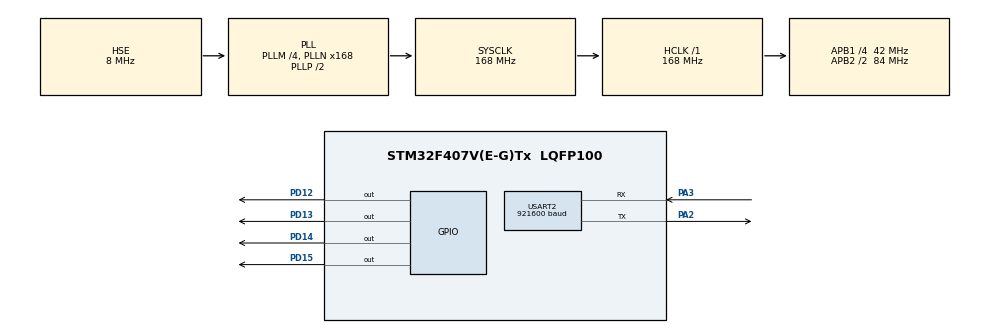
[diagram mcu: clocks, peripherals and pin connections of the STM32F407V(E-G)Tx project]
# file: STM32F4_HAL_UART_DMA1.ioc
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Dma.Request0=USART2_TX
Dma.Request1=USART2_RX
Dma.USART2_RX.1.Direction=DMA_PERIPH_TO_MEMORY
Dma.USART2_RX.1.FIFOMode=DMA_FIFOMODE_ENABLE
Dma.USART2_RX.1.FIFOThreshold=DMA_FIFO_THRESHOLD_FULL
Dma.USART2_RX.1.Instance=DMA1_Stream5
Dma.USART2_RX.1.MemBurst=DMA_MBURST_INC16
Dma.USART2_RX.1.MemDataAlignment=DMA_MDATAALIGN_BYTE
Dma.USART2_RX.1.MemInc=DMA_MINC_ENABLE
Dma.USART2_RX.1.Mode=DMA_NORMAL
Dma.USART2_RX.1.PeriphBurst=DMA_PBURST_SINGLE
Dma.USART2_RX.1.PeriphDataAlignment=DMA_PDATAALIGN_BYTE
Dma.USART2_RX.1.PeriphInc=DMA_PINC_DISABLE
Dma.USART2_RX.1.Priority=DMA_PRIORITY_LOW
Dma.USART2_TX.0.Direction=DMA_MEMORY_TO_PERIPH
Dma.USART2_TX.0.FIFOMode=DMA_FIFOMODE_DISABLE
Dma.USART2_TX.0.Instance=DMA1_Stream6
Dma.USART2_TX.0.MemDataAlignment=DMA_MDATAALIGN_BYTE
Dma.USART2_TX.0.MemInc=DMA_MINC_ENABLE
Dma.USART2_TX.0.Mode=DMA_NORMAL
Dma.USART2_TX.0.PeriphDataAlignment=DMA_PDATAALIGN_BYTE
Dma.USART2_TX.0.PeriphInc=DMA_PINC_DISABLE
Dma.USART2_TX.0.Priority=DMA_PRIORITY_LOW
Mcu.Family=STM32F4
Mcu.Name=STM32F407V(E-G)Tx
Mcu.Package=LQFP100
NVIC.DMA1_Stream5_IRQn=true\:0\:0\:false\:false\:true\:false
NVIC.DMA1_Stream6_IRQn=true\:0\:0\:false\:false\:true\:false
NVIC.PriorityGroup=NVIC_PRIORITYGROUP_0
NVIC.USART2_IRQn=true\:0\:0\:false\:false\:true\:true
PA2.Mode=Asynchronous
PA2.Signal=USART2_TX
PA3.Mode=Asynchronous
PA3.Signal=USART2_RX
PC14-OSC32_IN.Mode=LSE-External-Oscillator
PC14-OSC32_IN.Signal=RCC_OSC32_IN
PC15-OSC32_OUT.Mode=LSE-External-Oscillator
PC15-OSC32_OUT.Signal=RCC_OSC32_OUT
PD12.Signal=GPIO_Output
PD13.Signal=GPIO_Output
PD14.Signal=GPIO_Output
PD15.Signal=GPIO_Output
PH0-OSC_IN.Mode=HSE-External-Oscillator
PH0-OSC_IN.Signal=RCC_OSC_IN
PH1-OSC_OUT.Mode=HSE-External-Oscillator
PH1-OSC_OUT.Signal=RCC_OSC_OUT
ProjectManager.HeapSize=0x200
ProjectManager.StackSize=0x400
ProjectManager.TargetToolchain=TrueSTUDIO
RCC.48MHZClocksFreq_Value=48000000
RCC.AHBFreq_Value=168000000
RCC.APB1CLKDivider=RCC_HCLK_DIV4
RCC.APB1Freq_Value=42000000
RCC.APB1TimFreq_Value=84000000
RCC.APB2CLKDivider=RCC_HCLK_DIV2
RCC.APB2Freq_Value=84000000
RCC.APB2TimFreq_Value=168000000
RCC.CortexFreq_Value=168000000
RCC.HCLKFreq_Value=168000000
RCC.HSE_VALUE=8000000
RCC.HSI_VALUE=16000000
RCC.PLLM=4
RCC.PLLN=168
RCC.PLLQ=7
RCC.PLLSourceVirtual=RCC_PLLSOURCE_HSE
RCC.SYSCLKFreq_VALUE=168000000
RCC.SYSCLKSource=RCC_SYSCLKSOURCE_PLLCLK
RCC.VCOOutputFreq_Value=336000000
USART2.BaudRate=921600
USART2.VirtualMode=VM_ASYNC
board=STM32F4DISCOVERY

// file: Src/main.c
/**
  ******************************************************************************
  * @file           : main.c
  * @brief          : Main program body
  ******************************************************************************
  ** This notice applies to any and all portions of this file
  * that are not between comment pairs USER CODE BEGIN and
  * USER CODE END. Other portions of this file, whether
  * inserted by the user or by software development tools
  * are owned by their respective copyright owners.
  *
  * COPYRIGHT(c) 2019 STMicroelectronics
  *
  * Redistribution and use in source and binary forms, with or without modification,
  * are permitted provided that the following conditions are met:
  *   1. Redistributions of source code must retain the above copyright notice,
  *      this list of conditions and the following disclaimer.
  *   2. Redistributions in binary form must reproduce the above copyright notice,
  *      this list of conditions and the following disclaimer in the documentation
  *      and/or other materials provided with the distribution.
  *   3. Neither the name of STMicroelectronics nor the names of its contributors
  *      may be used to endorse or promote products derived from this software
  *      without specific prior written permission.
  *
  * THIS SOFTWARE IS PROVIDED BY THE COPYRIGHT HOLDERS AND CONTRIBUTORS "AS IS"
  * AND ANY EXPRESS OR IMPLIED WARRANTIES, INCLUDING, BUT NOT LIMITED TO, THE
  * IMPLIED WARRANTIES OF MERCHANTABILITY AND FITNESS FOR A PARTICULAR PURPOSE ARE
  * DISCLAIMED. IN NO EVENT SHALL THE COPYRIGHT HOLDER OR CONTRIBUTORS BE LIABLE
  * FOR ANY DIRECT, INDIRECT, INCIDENTAL, SPECIAL, EXEMPLARY, OR CONSEQUENTIAL
  * DAMAGES (INCLUDING, BUT NOT LIMITED TO, PROCUREMENT OF SUBSTITUTE GOODS OR
  * SERVICES; LOSS OF USE, DATA, OR PROFITS; OR BUSINESS INTERRUPTION) HOWEVER
  * CAUSED AND ON ANY THEORY OF LIABILITY, WHETHER IN CONTRACT, STRICT LIABILITY,
  * OR TORT (INCLUDING NEGLIGENCE OR OTHERWISE) ARISING IN ANY WAY OUT OF THE USE
  * OF THIS SOFTWARE, EVEN IF ADVISED OF THE POSSIBILITY OF SUCH DAMAGE.
  *
  ******************************************************************************
  */
#include "main.h"
#include "stm32f4xx_hal.h"

/* USER CODE BEGIN Includes */
#include "stdbool.h"
/* USER CODE END Includes */

UART_HandleTypeDef huart2;
DMA_HandleTypeDef hdma_usart2_tx;
DMA_HandleTypeDef hdma_usart2_rx;

/* USER CODE BEGIN PV */
/* Private variables ---------------------------------------------------------*/
#define MSG_SIZE     1024
#define BUF_SIZE        4

uint8_t msg[MSG_SIZE];
uint32_t msgCount = 0;
bool msgFlag = false;
uint32_t noRESCount = 0;
/* USER CODE END PV */

void SystemClock_Config(void);
static void MX_GPIO_Init(void);
static void MX_DMA_Init(void);
static void MX_USART2_UART_Init(void);

/* USER CODE BEGIN PFP */
/* Private function prototypes -----------------------------------------------*/

/* USER CODE END PFP */

/* USER CODE BEGIN 0 */
void SendREQ()
{
  uint8_t req[3] = {0xAA, 0xBB, 0xCC};
  HAL_UART_Receive_DMA(&huart2, msg, MSG_SIZE);
  HAL_UART_Transmit_DMA(&huart2, req, sizeof(req));
}

void RcvRES()
{
  if(msgFlag)
  {
    msgFlag = false;
    noRESCount = 0;

    if(msg[0] == 0x00 && msg[MSG_SIZE-1] == 0xFF)
    {
      msgCount++;

      /* Turn Off Error LED */
      HAL_GPIO_WritePin(GPIOD, GPIO_PIN_14, GPIO_PIN_RESET);
      /* Toggle RCV LED */
      HAL_GPIO_TogglePin(GPIOD, GPIO_PIN_15);
    }
    else
    {
      /* Turn On Error LED */
      HAL_GPIO_WritePin(GPIOD, GPIO_PIN_14, GPIO_PIN_SET);
    }

    SendREQ();
  }
  else
  {
    /* Slave 쪽이 Reset 된 경우 장기간 데이터가 수신되지 않으면 기존 동작을 취소하고 다시 SendREQ 를 수행한다. */
    noRESCount++;
    if(noRESCount > 500000)
    {
      noRESCount = 0;

      HAL_DMA_Abort(&hdma_usart2_tx);
      HAL_DMA_Abort(&hdma_usart2_rx);

      SendREQ();
    }
  }
}

void HAL_UART_RxCpltCallback(UART_HandleTypeDef *huart)
{
  if(huart->Instance == USART2)
  {
    msgFlag = true;
  }
}

/* USER CODE END 0 */

int main(void)
{

  /* MCU Configuration----------------------------------------------------------*/

  /* Reset of all peripherals, Initializes the Flash interface and the Systick. */
  HAL_Init();

  /* Configure the system clock */
  SystemClock_Config();

  /* Initialize all configured peripherals */
  MX_GPIO_Init();
  MX_DMA_Init();
  MX_USART2_UART_Init();

  /* Infinite loop */
  while (1)
  {

  /* USER CODE BEGIN 3 */
    RcvRES();
  }
  /* USER CODE END 3 */

}

void SystemClock_Config(void)
{

  RCC_OscInitTypeDef RCC_OscInitStruct;
  RCC_ClkInitTypeDef RCC_ClkInitStruct;

    /**Configure the main internal regulator output voltage
    */
  __HAL_RCC_PWR_CLK_ENABLE();

  __HAL_PWR_VOLTAGESCALING_CONFIG(PWR_REGULATOR_VOLTAGE_SCALE1);

    /**Initializes the CPU, AHB and APB busses clocks
    */
  RCC_OscInitStruct.OscillatorType = RCC_OSCILLATORTYPE_HSE;
  RCC_OscInitStruct.HSEState = RCC_HSE_ON;
  RCC_OscInitStruct.PLL.PLLState = RCC_PLL_ON;
  RCC_OscInitStruct.PLL.PLLSource = RCC_PLLSOURCE_HSE;
  RCC_OscInitStruct.PLL.PLLM = 4;
  RCC_OscInitStruct.PLL.PLLN = 168;
  RCC_OscInitStruct.PLL.PLLP = RCC_PLLP_DIV2;
  RCC_OscInitStruct.PLL.PLLQ = 7;
  if (HAL_RCC_OscConfig(&RCC_OscInitStruct) != HAL_OK)
  {
    _Error_Handler(__FILE__, __LINE__);
  }

    /**Initializes the CPU, AHB and APB busses clocks
    */
  RCC_ClkInitStruct.ClockType = RCC_CLOCKTYPE_HCLK|RCC_CLOCKTYPE_SYSCLK
                              |RCC_CLOCKTYPE_PCLK1|RCC_CLOCKTYPE_PCLK2;
  RCC_ClkInitStruct.SYSCLKSource = RCC_SYSCLKSOURCE_PLLCLK;
  RCC_ClkInitStruct.AHBCLKDivider = RCC_SYSCLK_DIV1;
  RCC_ClkInitStruct.APB1CLKDivider = RCC_HCLK_DIV4;
  RCC_ClkInitStruct.APB2CLKDivider = RCC_HCLK_DIV2;

  if (HAL_RCC_ClockConfig(&RCC_ClkInitStruct, FLASH_LATENCY_5) != HAL_OK)
  {
    _Error_Handler(__FILE__, __LINE__);
  }

    /**Configure the Systick interrupt time
    */
  HAL_SYSTICK_Config(HAL_RCC_GetHCLKFreq()/1000);

    /**Configure the Systick
    */
  HAL_SYSTICK_CLKSourceConfig(SYSTICK_CLKSOURCE_HCLK);

  /* SysTick_IRQn interrupt configuration */
  HAL_NVIC_SetPriority(SysTick_IRQn, 0, 0);
}

/* USART2 init function */
static void MX_USART2_UART_Init(void)
{

  huart2.Instance = USART2;
  huart2.Init.BaudRate = 921600;
  huart2.Init.WordLength = UART_WORDLENGTH_8B;
  huart2.Init.StopBits = UART_STOPBITS_1;
  huart2.Init.Parity = UART_PARITY_NONE;
  huart2.Init.Mode = UART_MODE_TX_RX;
  huart2.Init.HwFlowCtl = UART_HWCONTROL_NONE;
  huart2.Init.OverSampling = UART_OVERSAMPLING_16;
  if (HAL_UART_Init(&huart2) != HAL_OK)
  {
    _Error_Handler(__FILE__, __LINE__);
  }

}

static void MX_DMA_Init(void)
{
  /* DMA controller clock enable */
  __HAL_RCC_DMA1_CLK_ENABLE();

  /* DMA interrupt init */
  /* DMA1_Stream5_IRQn interrupt configuration */
  HAL_NVIC_SetPriority(DMA1_Stream5_IRQn, 0, 0);
  HAL_NVIC_EnableIRQ(DMA1_Stream5_IRQn);
  /* DMA1_Stream6_IRQn interrupt configuration */
  HAL_NVIC_SetPriority(DMA1_Stream6_IRQn, 0, 0);
  HAL_NVIC_EnableIRQ(DMA1_Stream6_IRQn);

}

/** Configure pins as
        * Analog
        * Input
        * Output
        * EVENT_OUT
        * EXTI
*/
static void MX_GPIO_Init(void)
{

  GPIO_InitTypeDef GPIO_InitStruct;

  /* GPIO Ports Clock Enable */
  __HAL_RCC_GPIOC_CLK_ENABLE();
  __HAL_RCC_GPIOH_CLK_ENABLE();
  __HAL_RCC_GPIOA_CLK_ENABLE();
  __HAL_RCC_GPIOD_CLK_ENABLE();

  /*Configure GPIO pin Output Level */
  HAL_GPIO_WritePin(GPIOD, GPIO_PIN_12|GPIO_PIN_13|GPIO_PIN_14|GPIO_PIN_15, GPIO_PIN_RESET);

  /*Configure GPIO pins : PD12 PD13 PD14 PD15 */
  GPIO_InitStruct.Pin = GPIO_PIN_12|GPIO_PIN_13|GPIO_PIN_14|GPIO_PIN_15;
  GPIO_InitStruct.Mode = GPIO_MODE_OUTPUT_PP;
  GPIO_InitStruct.Pull = GPIO_NOPULL;
  GPIO_InitStruct.Speed = GPIO_SPEED_FREQ_LOW;
  HAL_GPIO_Init(GPIOD, &GPIO_InitStruct);

}

void _Error_Handler(char *file, int line)
{
  while(1)
  {
  }
}

/************************ (C) COPYRIGHT STMicroelectronics *****END OF FILE****/
